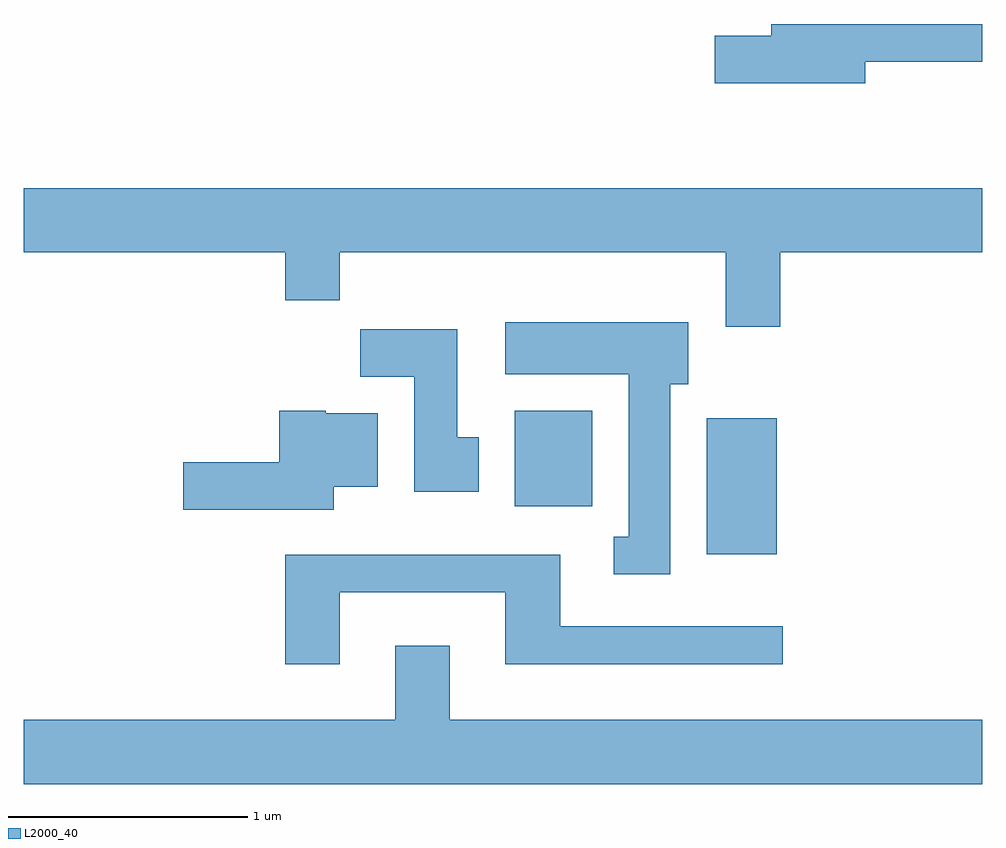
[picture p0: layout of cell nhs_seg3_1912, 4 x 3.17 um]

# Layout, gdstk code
import gdstk
lib = gdstk.Library(unit=1e-6, precision=1e-09)
def R(c, l, rs):  # rectangles x0, y0, x1, y1
    for r in rs: c.add(gdstk.rectangle(r[:2], r[2:], *l))
def P(c, l, *ps):  # polygons
    for p in ps: c.add(gdstk.Polygon(p, *l))
L2000_40 = (2000, 40)

nhs_seg3_1912 = lib.new_cell('nhs_seg3_1912')
R(nhs_seg3_1912, L2000_40, [(244.461,1133.636,244.754,1134.204), (243.661,1133.836,243.984,1134.234)])
P(nhs_seg3_1912, L2000_40, [(245.124,1135.691),(245.611,1135.691),(245.611,1135.849),(244.731,1135.849),(244.731,1135.799),(244.496,1135.799),(244.496,1135.601),(245.124,1135.601)],
  [(244.769,1134.896),(245.611,1134.896),(245.611,1135.164),(241.611,1135.164),(241.611,1134.896),(242.701,1134.896),(242.701,1134.696),(242.929,1134.696),(242.929,1134.896),(244.541,1134.896),(244.541,1134.586),(244.769,1134.586)],
  [(244.309,1134.346),(244.384,1134.346),(244.384,1134.604),(243.621,1134.604),(243.621,1134.386),(244.136,1134.386),(244.136,1133.709),(244.073,1133.709),(244.073,1133.551),(244.309,1133.551)],
  [(243.509,1134.124),(243.419,1134.124),(243.419,1134.574),(243.016,1134.574),(243.016,1134.376),(243.241,1134.376),(243.241,1133.896),(243.509,1133.896)],
  [(242.904,1133.916),(243.089,1133.916),(243.089,1134.224),(242.87,1134.224),(242.87,1134.234),(242.676,1134.234),(242.676,1134.019),(242.276,1134.019),(242.276,1133.821),(242.904,1133.821)],
  [(242.929,1133.476),(243.621,1133.476),(243.621,1133.176),(244.778,1133.176),(244.778,1133.334),(243.849,1133.334),(243.849,1133.634),(242.701,1133.634),(242.701,1133.176),(242.929,1133.176)],
  [(245.611,1132.944),(243.389,1132.944),(243.389,1133.254),(243.161,1133.254),(243.161,1132.944),(241.611,1132.944),(241.611,1132.676),(245.611,1132.676)])

lib.write_gds('nhs_seg3_1912.gds')
